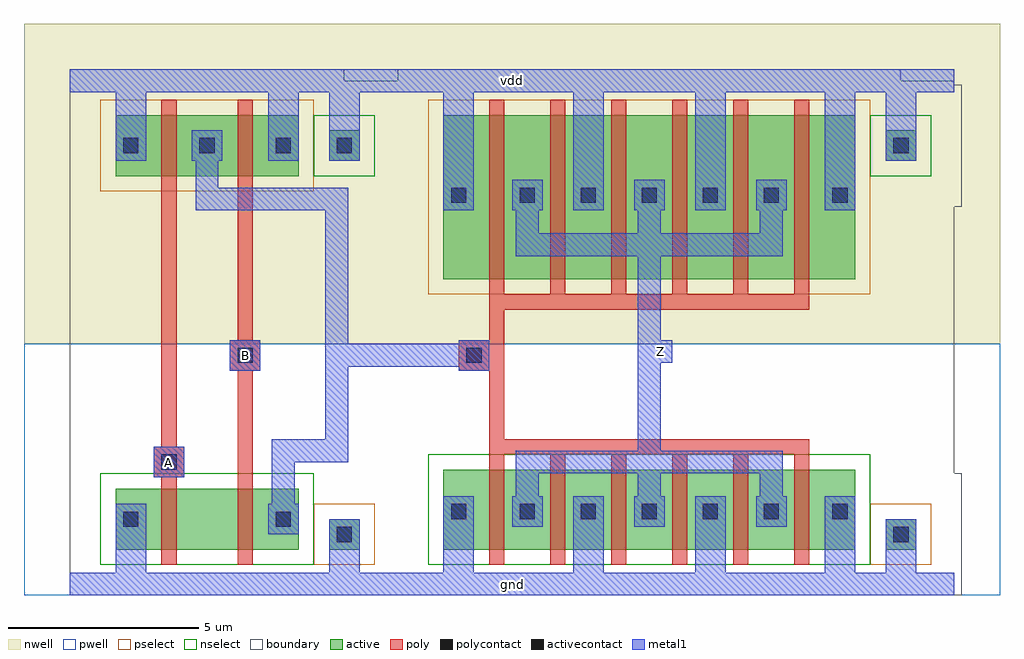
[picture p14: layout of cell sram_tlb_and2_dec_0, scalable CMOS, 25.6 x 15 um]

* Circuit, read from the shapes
.subckt sram_tlb_and2_dec_0 A B Z gnd vdd
M1 sram_tlb_pnand2_0/sram_tlb_nmos_m1_w1_600_sm1_dactive_2/D A gnd gnd nfet w=1.6u l=0.4u
M2 sram_tlb_pinv_0_1/A B sram_tlb_pnand2_0/sram_tlb_nmos_m1_w1_600_sm1_dactive_2/D gnd nfet w=1.6u l=0.4u
M3 Z sram_tlb_pinv_0_1/A gnd gnd nfet w=2.1u l=0.4u m=6
M4 sram_tlb_pinv_0_1/A A vdd vdd pfet w=1.6u l=0.4u
M5 vdd B sram_tlb_pinv_0_1/A vdd pfet w=1.6u l=0.4u
M6 Z sram_tlb_pinv_0_1/A vdd vdd pfet w=4.3u l=0.4u m=6
.ends

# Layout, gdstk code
import gdstk
lib = gdstk.Library(unit=1e-6, precision=1e-09)
def R(c, l, rs):  # rectangles x0, y0, x1, y1
    for r in rs: c.add(gdstk.rectangle(r[:2], r[2:], *l))
def A(c, l, x, y, w, h, nx, ny, dx, dy):  # array of equal rectangles
    R(c, l, [(x+i*dx, y+j*dy, x+i*dx+w, y+j*dy+h) for i in range(nx) for j in range(ny)])
pwell = (41, 0)
nwell = (42, 0)
active = (43, 0)
pselect = (44, 0)
nselect = (45, 0)
poly = (46, 0)
polycontact = (47, 0)
activecontact = (48, 0)
metal1 = (49, 0)
boundary = (63, 0)

sram_tlb_contact_11 = lib.new_cell('sram_tlb_contact_11')
R(sram_tlb_contact_11, nwell, [(-1.2,-1.2,2,2)])
R(sram_tlb_contact_11, active, [(0,0,0.8,0.8)])
R(sram_tlb_contact_11, pselect, [(-0.4,-0.4,1.2,1.2)])
R(sram_tlb_contact_11, activecontact, [(0.2,0.2,0.6,0.6)])
R(sram_tlb_contact_11, metal1, [(0,0,0.8,0.8)])
R(sram_tlb_contact_11, boundary, [(-1.2,-1.2,2,2)])

sram_tlb_pmos_m1_w1_600_ = lib.new_cell('sram_tlb_pmos_m1_w1_600_sm1_dm1')
R(sram_tlb_pmos_m1_w1_600_, nwell, [(-1.2,-1.2,4,2.8)])
R(sram_tlb_pmos_m1_w1_600_, active, [(0,0,2.8,1.6)])
R(sram_tlb_pmos_m1_w1_600_, pselect, [(-0.4,-0.4,3.2,2)])
R(sram_tlb_pmos_m1_w1_600_, poly, [(1.2,-0.4,1.6,2), (1.2,-0.4,1.6,2)])
R(sram_tlb_pmos_m1_w1_600_, metal1, [(0,0.4,0.8,1.2), (2,0.4,2.8,1.2)])
R(sram_tlb_pmos_m1_w1_600_, boundary, [(-1.2,-1.2,4,2.8)])
sram_tlb_pmos_m1_w1_600_.add(gdstk.Reference(sram_tlb_contact_11, (0,0.4)))
sram_tlb_pmos_m1_w1_600_.add(gdstk.Reference(sram_tlb_contact_11, (2,0.4)))
sram_tlb_pmos_m1_w1_600_.add(gdstk.Label('G', (1.4,0.8), layer=46, texttype=0))
sram_tlb_pmos_m1_w1_600_.add(gdstk.Label('S', (0.4,0.8), layer=49, texttype=0))
sram_tlb_pmos_m1_w1_600_.add(gdstk.Label('D', (2.4,0.8), layer=49, texttype=0))

sram_tlb_contact_10 = lib.new_cell('sram_tlb_contact_10')
R(sram_tlb_contact_10, pwell, [(-1.2,-1.2,2,2)])
R(sram_tlb_contact_10, active, [(0,0,0.8,0.8)])
R(sram_tlb_contact_10, nselect, [(-0.4,-0.4,1.2,1.2)])
R(sram_tlb_contact_10, activecontact, [(0.2,0.2,0.6,0.6)])
R(sram_tlb_contact_10, metal1, [(0,0,0.8,0.8)])
R(sram_tlb_contact_10, boundary, [(-1.2,-1.2,2,2)])

sram_tlb_nmos_m1_w1_600_ = lib.new_cell('sram_tlb_nmos_m1_w1_600_sm1_dactive')
R(sram_tlb_nmos_m1_w1_600_, pwell, [(-1.2,-1.2,4,2.8)])
R(sram_tlb_nmos_m1_w1_600_, active, [(0,0,2.8,1.6), (2.1,0.5,2.7,1.1)])
R(sram_tlb_nmos_m1_w1_600_, nselect, [(-0.4,-0.4,3.2,2)])
R(sram_tlb_nmos_m1_w1_600_, poly, [(1.2,-0.4,1.6,2), (1.2,-0.4,1.6,2)])
R(sram_tlb_nmos_m1_w1_600_, metal1, [(0,0.4,0.8,1.2)])
R(sram_tlb_nmos_m1_w1_600_, boundary, [(-1.2,-1.2,4,2.8)])
sram_tlb_nmos_m1_w1_600_.add(gdstk.Reference(sram_tlb_contact_10, (0,0.4)))
sram_tlb_nmos_m1_w1_600_.add(gdstk.Label('G', (1.4,0.8), layer=46, texttype=0))
sram_tlb_nmos_m1_w1_600_.add(gdstk.Label('S', (0.4,0.8), layer=49, texttype=0))
sram_tlb_nmos_m1_w1_600_.add(gdstk.Label('D', (2.4,0.8), layer=43, texttype=0))

c_sram_tlb_nmos_m1_w1_600_ = lib.new_cell('sram_tlb_nmos_m1_w1_600_sactive_dm1')
R(c_sram_tlb_nmos_m1_w1_600_, pwell, [(-1.2,-1.2,4,2.8)])
R(c_sram_tlb_nmos_m1_w1_600_, active, [(0,0,2.8,1.6), (0.1,0.5,0.7,1.1)])
R(c_sram_tlb_nmos_m1_w1_600_, nselect, [(-0.4,-0.4,3.2,2)])
R(c_sram_tlb_nmos_m1_w1_600_, poly, [(1.2,-0.4,1.6,2), (1.2,-0.4,1.6,2)])
R(c_sram_tlb_nmos_m1_w1_600_, metal1, [(2,0.4,2.8,1.2)])
R(c_sram_tlb_nmos_m1_w1_600_, boundary, [(-1.2,-1.2,4,2.8)])
c_sram_tlb_nmos_m1_w1_600_.add(gdstk.Reference(sram_tlb_contact_10, (2,0.4)))
c_sram_tlb_nmos_m1_w1_600_.add(gdstk.Label('G', (1.4,0.8), layer=46, texttype=0))
c_sram_tlb_nmos_m1_w1_600_.add(gdstk.Label('S', (0.4,0.8), layer=43, texttype=0))
c_sram_tlb_nmos_m1_w1_600_.add(gdstk.Label('D', (2.4,0.8), layer=49, texttype=0))

sram_tlb_contact_12 = lib.new_cell('sram_tlb_contact_12')
R(sram_tlb_contact_12, nwell, [(-1.2,-1.2,2,2)])
R(sram_tlb_contact_12, active, [(0,0,0.8,0.8)])
R(sram_tlb_contact_12, nselect, [(-0.4,-0.4,1.2,1.2)])
R(sram_tlb_contact_12, activecontact, [(0.2,0.2,0.6,0.6)])
R(sram_tlb_contact_12, metal1, [(0,0,0.8,0.8)])
R(sram_tlb_contact_12, boundary, [(-1.2,-1.2,2,2)])

sram_tlb_contact_13 = lib.new_cell('sram_tlb_contact_13')
R(sram_tlb_contact_13, pwell, [(-1.2,-1.2,2,2)])
R(sram_tlb_contact_13, active, [(0,0,0.8,0.8)])
R(sram_tlb_contact_13, pselect, [(-0.4,-0.4,1.2,1.2)])
R(sram_tlb_contact_13, activecontact, [(0.2,0.2,0.6,0.6)])
R(sram_tlb_contact_13, metal1, [(0,0,0.8,0.8)])
R(sram_tlb_contact_13, boundary, [(-1.2,-1.2,2,2)])

sram_tlb_contact_14 = lib.new_cell('sram_tlb_contact_14')
R(sram_tlb_contact_14, poly, [(0,0,0.8,0.8)])
R(sram_tlb_contact_14, polycontact, [(0.2,0.2,0.6,0.6)])
R(sram_tlb_contact_14, metal1, [(0,0,0.8,0.8)])
R(sram_tlb_contact_14, boundary, [(0,0,0.8,0.8)])

sram_tlb_pnand2 = lib.new_cell('sram_tlb_pnand2')
R(sram_tlb_pnand2, pwell, [(-1.2,-0.3,9.8,6.3)])
R(sram_tlb_pnand2, nwell, [(-1.2,6.3,9.8,14.7)])
R(sram_tlb_pnand2, poly, [(2.4,2.8,2.6,3.6), (2.4,2.9,2.8,10.3), (4.4,2.9,4.8,10.3), (4.4,5.6,4.6,6.4)])
R(sram_tlb_pnand2, metal1, [(0,-0.3,8.6,0.3), (1.2,-0.3,2,1.3), (6.8,0,7.6,1.3), (5.3,2.1,5.9,3.5), (2.2,2.8,3,3.6), (5.3,3.2,5.9,3.8), (5.6,3.2,7,3.8), (6.7,3.2,7.3,3.8), (6.7,3.5,7.3,10.1), (4.2,5.6,5,6.4), (3.3,9.8,3.9,10.4), (3.6,9.8,7,10.4), (6.7,9.8,7.3,10.4), (3.3,10.1,3.9,11.1), (1.2,11.1,2,13.5), (5.2,11.1,6,13.5), (6.8,11.5,7.6,13.2), (0,12.9,8.6,13.5)])
R(sram_tlb_pnand2, boundary, [(0,0,8.6,13.2), (0,0,8.6,13.2)])
sram_tlb_pnand2.add(gdstk.Reference(sram_tlb_pmos_m1_w1_600_, (1.2,10.7)))
sram_tlb_pnand2.add(gdstk.Reference(sram_tlb_pmos_m1_w1_600_, (3.2,10.7)))
sram_tlb_pnand2.add(gdstk.Reference(sram_tlb_nmos_m1_w1_600_, (1.2,0.9)))
sram_tlb_pnand2.add(gdstk.Reference(c_sram_tlb_nmos_m1_w1_600_, (3.2,0.9)))
sram_tlb_pnand2.add(gdstk.Reference(sram_tlb_contact_12, (6.8,11.1)))
sram_tlb_pnand2.add(gdstk.Reference(sram_tlb_contact_13, (6.8,0.9)))
sram_tlb_pnand2.add(gdstk.Reference(sram_tlb_contact_14, (2.2,2.8)))
sram_tlb_pnand2.add(gdstk.Reference(sram_tlb_contact_14, (4.2,5.6)))
sram_tlb_pnand2.add(gdstk.Label('Z', (7,10.1), layer=49, texttype=0))
sram_tlb_pnand2.add(gdstk.Label('gnd', (4.3,0), layer=49, texttype=0))
sram_tlb_pnand2.add(gdstk.Label('vdd', (4.3,13.2), layer=49, texttype=0))
sram_tlb_pnand2.add(gdstk.Label('A', (2.6,3.2), layer=49, texttype=0))
sram_tlb_pnand2.add(gdstk.Label('B', (4.6,6), layer=49, texttype=0))

sram_tlb_pmos_m6_w4_300_ = lib.new_cell('sram_tlb_pmos_m6_w4_300_sm1_dm1_da_p')
R(sram_tlb_pmos_m6_w4_300_, nwell, [(-1.2,-1.2,12,5.5)])
R(sram_tlb_pmos_m6_w4_300_, active, [(0,0,10.8,4.3)])
R(sram_tlb_pmos_m6_w4_300_, pselect, [(-0.4,-0.4,11.2,4.7)])
A(sram_tlb_pmos_m6_w4_300_, poly, 1.2, -0.4, 0.4, 5.1, 6, 1, 1.6, 0)
R(sram_tlb_pmos_m6_w4_300_, poly, [(1.2,-0.8,9.6,-0.4)])
A(sram_tlb_pmos_m6_w4_300_, metal1, 1.9, 0.8, 0.6, 1.4, 3, 1, 3.2, 0)
R(sram_tlb_pmos_m6_w4_300_, metal1, [(1.9,0.6,8.9,1.2), (0,1.8,0.8,2.6), (3.4,1.8,4.2,2.6), (6.6,1.8,7.4,2.6), (10,1.8,10.8,2.6)])
R(sram_tlb_pmos_m6_w4_300_, boundary, [(-1.2,-1.2,12,5.5)])
sram_tlb_pmos_m6_w4_300_.add(gdstk.Reference(sram_tlb_contact_11, (0,1.8)))
sram_tlb_pmos_m6_w4_300_.add(gdstk.Reference(sram_tlb_contact_11, (1.8,1.8)))
sram_tlb_pmos_m6_w4_300_.add(gdstk.Reference(sram_tlb_contact_11, (3.4,1.8)))
sram_tlb_pmos_m6_w4_300_.add(gdstk.Reference(sram_tlb_contact_11, (5,1.8)))
sram_tlb_pmos_m6_w4_300_.add(gdstk.Reference(sram_tlb_contact_11, (6.6,1.8)))
sram_tlb_pmos_m6_w4_300_.add(gdstk.Reference(sram_tlb_contact_11, (8.2,1.8)))
sram_tlb_pmos_m6_w4_300_.add(gdstk.Reference(sram_tlb_contact_11, (10,1.8)))
sram_tlb_pmos_m6_w4_300_.add(gdstk.Label('G', (5.4,-0.6), layer=46, texttype=0))
sram_tlb_pmos_m6_w4_300_.add(gdstk.Label('S', (3.8,2.2), layer=49, texttype=0))
sram_tlb_pmos_m6_w4_300_.add(gdstk.Label('S', (0.4,2.2), layer=49, texttype=0))
sram_tlb_pmos_m6_w4_300_.add(gdstk.Label('S', (10.4,2.2), layer=49, texttype=0))
sram_tlb_pmos_m6_w4_300_.add(gdstk.Label('S', (7,2.2), layer=49, texttype=0))
sram_tlb_pmos_m6_w4_300_.add(gdstk.Label('D', (5.4,0.9), layer=49, texttype=0))

sram_tlb_nmos_m6_w2_100_ = lib.new_cell('sram_tlb_nmos_m6_w2_100_sm1_dm1_da_p')
R(sram_tlb_nmos_m6_w2_100_, pwell, [(-1.2,-1.2,12,3.3)])
R(sram_tlb_nmos_m6_w2_100_, active, [(0,0,10.8,2.1)])
R(sram_tlb_nmos_m6_w2_100_, nselect, [(-0.4,-0.4,11.2,2.5)])
A(sram_tlb_nmos_m6_w2_100_, poly, 1.2, -0.4, 0.4, 2.9, 6, 1, 1.6, 0)
R(sram_tlb_nmos_m6_w2_100_, poly, [(1.2,2.5,9.6,2.9)])
A(sram_tlb_nmos_m6_w2_100_, metal1, 1.9, 1, 0.6, 1.4, 3, 1, 3.2, 0)
R(sram_tlb_nmos_m6_w2_100_, metal1, [(0,0.6,0.8,1.4), (3.4,0.6,4.2,1.4), (6.6,0.6,7.4,1.4), (10,0.6,10.8,1.4), (1.9,2,8.9,2.6)])
R(sram_tlb_nmos_m6_w2_100_, boundary, [(-1.2,-1.2,12,3.3)])
sram_tlb_nmos_m6_w2_100_.add(gdstk.Reference(sram_tlb_contact_10, (0,0.6)))
sram_tlb_nmos_m6_w2_100_.add(gdstk.Reference(sram_tlb_contact_10, (1.8,0.6)))
sram_tlb_nmos_m6_w2_100_.add(gdstk.Reference(sram_tlb_contact_10, (3.4,0.6)))
sram_tlb_nmos_m6_w2_100_.add(gdstk.Reference(sram_tlb_contact_10, (5,0.6)))
sram_tlb_nmos_m6_w2_100_.add(gdstk.Reference(sram_tlb_contact_10, (6.6,0.6)))
sram_tlb_nmos_m6_w2_100_.add(gdstk.Reference(sram_tlb_contact_10, (8.2,0.6)))
sram_tlb_nmos_m6_w2_100_.add(gdstk.Reference(sram_tlb_contact_10, (10,0.6)))
sram_tlb_nmos_m6_w2_100_.add(gdstk.Label('G', (5.4,2.7), layer=46, texttype=0))
sram_tlb_nmos_m6_w2_100_.add(gdstk.Label('S', (7,1), layer=49, texttype=0))
sram_tlb_nmos_m6_w2_100_.add(gdstk.Label('S', (3.8,1), layer=49, texttype=0))
sram_tlb_nmos_m6_w2_100_.add(gdstk.Label('S', (10.4,1), layer=49, texttype=0))
sram_tlb_nmos_m6_w2_100_.add(gdstk.Label('S', (0.4,1), layer=49, texttype=0))
sram_tlb_nmos_m6_w2_100_.add(gdstk.Label('D', (5.4,2.3), layer=49, texttype=0))

sram_tlb_pinv_0 = lib.new_cell('sram_tlb_pinv_0')
R(sram_tlb_pinv_0, pwell, [(-1.2,-0.3,15.8,6.3)])
R(sram_tlb_pinv_0, nwell, [(-1.2,6.3,15.8,14.7)])
R(sram_tlb_pinv_0, poly, [(2.4,3.8,2.8,7.2), (2,5.6,2.4,6.4)])
R(sram_tlb_pinv_0, metal1, [(0,-0.3,14.6,0.3), (1.2,-0.3,2,1.5), (4.6,-0.3,5.4,1.5), (7.8,-0.3,8.6,1.5), (11.2,-0.3,12,1.5), (12.8,0,13.6,1.3), (6.3,2.9,6.9,9.2), (1.6,5.6,2.4,6.4), (6.6,5.8,7.2,6.4), (1.2,9.8,2,13.5), (4.6,9.8,5.4,13.5), (7.8,9.8,8.6,13.5), (11.2,9.8,12,13.5), (12.8,11.5,13.6,13.2), (0,12.9,14.6,13.5)])
R(sram_tlb_pinv_0, boundary, [(0,0,14.6,13.2), (0,0,14.6,13.2)])
sram_tlb_pinv_0.add(gdstk.Reference(sram_tlb_pmos_m6_w4_300_, (1.2,8)))
sram_tlb_pinv_0.add(gdstk.Reference(sram_tlb_nmos_m6_w2_100_, (1.2,0.9)))
sram_tlb_pinv_0.add(gdstk.Reference(sram_tlb_contact_12, (12.8,11.1)))
sram_tlb_pinv_0.add(gdstk.Reference(sram_tlb_contact_13, (12.8,0.9)))
sram_tlb_pinv_0.add(gdstk.Reference(sram_tlb_contact_14, (1.6,5.6)))
sram_tlb_pinv_0.add(gdstk.Label('A', (2,6), layer=49, texttype=0))
sram_tlb_pinv_0.add(gdstk.Label('Z', (6.9,6.1), layer=49, texttype=0))
sram_tlb_pinv_0.add(gdstk.Label('gnd', (7.3,0), layer=49, texttype=0))
sram_tlb_pinv_0.add(gdstk.Label('vdd', (7.3,13.2), layer=49, texttype=0))

sram_tlb_and2_dec_0 = lib.new_cell('sram_tlb_and2_dec_0')
R(sram_tlb_and2_dec_0, metal1, [(0,-0.3,23.2,0.3), (2.2,2.8,3,3.6), (4.2,5.6,5,6.4), (6.7,5.7,7.3,6.3), (7,5.7,10.6,6.3), (15.2,5.8,15.8,6.4), (6.7,6,7.3,10.1), (0,12.9,23.2,13.5)])
R(sram_tlb_and2_dec_0, boundary, [(0,0,23.2,13.2)])
sram_tlb_and2_dec_0.add(gdstk.Reference(sram_tlb_pnand2, (0,0)))
sram_tlb_and2_dec_0.add(gdstk.Reference(sram_tlb_pinv_0, (8.6,0)))
sram_tlb_and2_dec_0.add(gdstk.Label('Z', (15.5,6.1), layer=49, texttype=0))
sram_tlb_and2_dec_0.add(gdstk.Label('A', (2.6,3.2), layer=49, texttype=0))
sram_tlb_and2_dec_0.add(gdstk.Label('B', (4.6,6), layer=49, texttype=0))
sram_tlb_and2_dec_0.add(gdstk.Label('gnd', (11.6,0), layer=49, texttype=0))
sram_tlb_and2_dec_0.add(gdstk.Label('vdd', (11.6,13.2), layer=49, texttype=0))

lib.write_gds('sram_tlb_and2_dec_0.gds')
